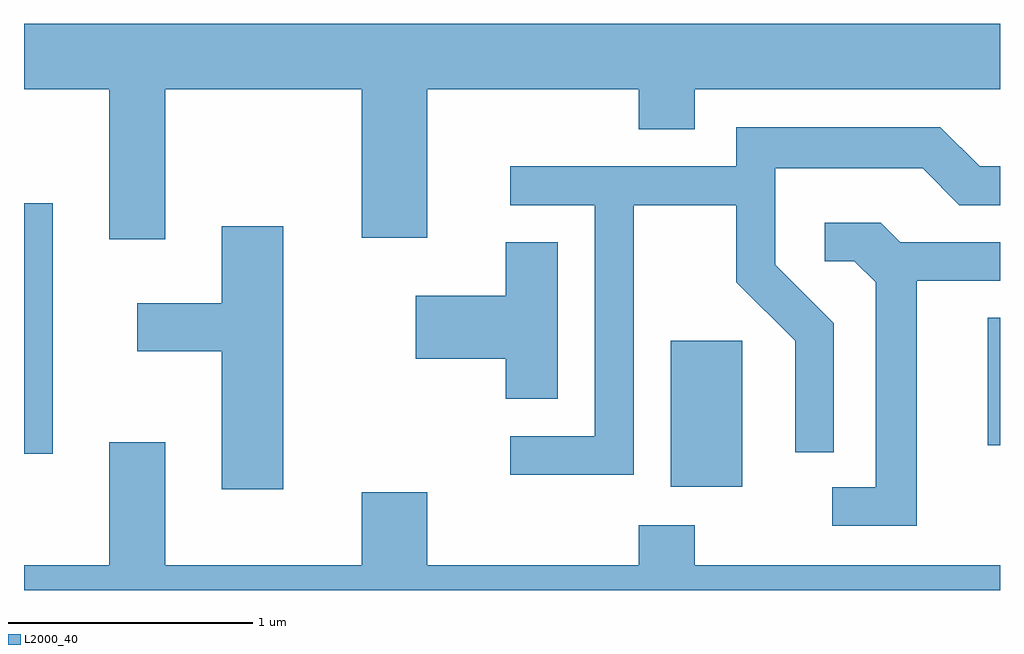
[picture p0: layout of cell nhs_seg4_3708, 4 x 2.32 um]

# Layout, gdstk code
import gdstk
lib = gdstk.Library(unit=1e-6, precision=1e-09)
def R(c, l, rs):  # rectangles x0, y0, x1, y1
    for r in rs: c.add(gdstk.rectangle(r[:2], r[2:], *l))
def P(c, l, *ps):  # polygons
    for p in ps: c.add(gdstk.Polygon(p, *l))
L2000_40 = (2000, 40)

nhs_seg4_3708 = lib.new_cell('nhs_seg4_3708')
R(nhs_seg4_3708, L2000_40, [(296.261,1326.406,296.554,1327.004), (293.611,1326.541,293.729,1327.569), (297.561,1326.576,297.611,1327.099)])
P(nhs_seg4_3708, L2000_40, [(294.189,1328.036),(294.996,1328.036),(294.996,1327.426),(295.264,1327.426),(295.264,1328.036),(296.131,1328.036),(296.131,1327.871),(296.359,1327.871),(296.359,1328.036),(297.611,1328.036),(297.611,1328.304),(293.611,1328.304),(293.611,1328.036),(293.961,1328.036),(293.961,1327.421),(294.189,1327.421)],
  [(296.109,1327.561),(296.531,1327.561),(296.531,1327.244),(296.771,1327.004),(296.771,1326.548),(296.929,1326.548),(296.929,1327.077),(296.689,1327.317),(296.689,1327.711),(297.294,1327.711),(297.444,1327.561),(297.611,1327.561),(297.611,1327.719),(297.527,1327.719),(297.367,1327.879),(296.531,1327.879),(296.531,1327.719),(295.603,1327.719),(295.603,1327.561),(295.951,1327.561),(295.951,1326.614),(295.603,1326.614),(295.603,1326.456),(296.109,1326.456)],
  [(297.269,1327.251),(297.611,1327.251),(297.611,1327.409),(297.202,1327.409),(297.122,1327.489),(296.893,1327.489),(296.893,1327.331),(297.014,1327.331),(297.101,1327.244),(297.101,1326.404),(296.923,1326.404),(296.923,1326.246),(297.269,1326.246)],
  [(294.674,1327.474),(294.421,1327.474),(294.421,1327.159),(294.076,1327.159),(294.076,1326.961),(294.421,1326.961),(294.421,1326.396),(294.674,1326.396)],
  [(295.799,1327.409),(295.586,1327.409),(295.586,1327.189),(295.216,1327.189),(295.216,1326.931),(295.586,1326.931),(295.586,1326.766),(295.799,1326.766)],
  [(297.611,1326.084),(296.359,1326.084),(296.359,1326.249),(296.131,1326.249),(296.131,1326.084),(295.264,1326.084),(295.264,1326.384),(294.996,1326.384),(294.996,1326.084),(294.189,1326.084),(294.189,1326.589),(293.961,1326.589),(293.961,1326.084),(293.611,1326.084),(293.611,1325.982),(297.611,1325.982)])

lib.write_gds('nhs_seg4_3708.gds')
